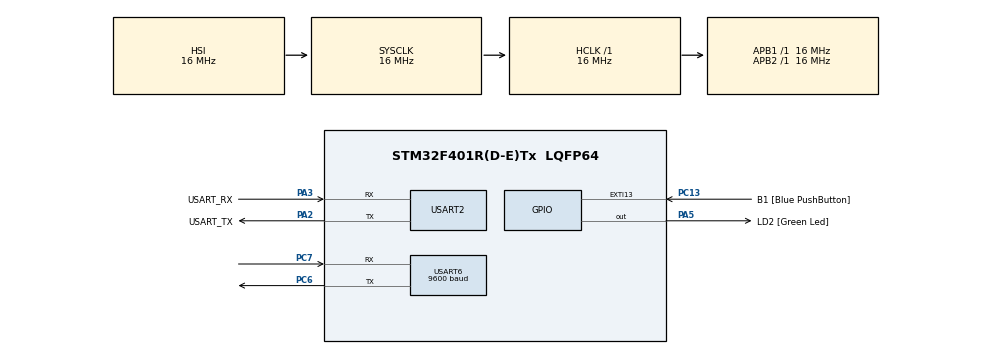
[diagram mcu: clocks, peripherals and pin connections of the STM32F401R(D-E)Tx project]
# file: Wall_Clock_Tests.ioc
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Mcu.Family=STM32F4
Mcu.Name=STM32F401R(D-E)Tx
Mcu.Package=LQFP64
NVIC.PriorityGroup=NVIC_PRIORITYGROUP_0
NVIC.TIM5_IRQn=true\:0\:0\:false\:false\:true\:true\:true\:true
PA13.GPIO_Label=TMS
PA13.Mode=Serial_Wire
PA13.Signal=SYS_JTMS-SWDIO
PA14.GPIO_Label=TCK
PA14.Mode=Serial_Wire
PA14.Signal=SYS_JTCK-SWCLK
PA2.GPIO_Label=USART_TX
PA2.GPIO_Mode=GPIO_MODE_AF_PP
PA2.GPIO_PuPd=GPIO_NOPULL
PA2.GPIO_Speed=GPIO_SPEED_FREQ_LOW
PA2.Mode=Asynchronous
PA2.Signal=USART2_TX
PA3.GPIO_Label=USART_RX
PA3.GPIO_Mode=GPIO_MODE_AF_PP
PA3.GPIO_PuPd=GPIO_NOPULL
PA3.GPIO_Speed=GPIO_SPEED_FREQ_LOW
PA3.Mode=Asynchronous
PA3.Signal=USART2_RX
PA5.GPIO_Label=LD2 [Green Led]
PA5.GPIO_Mode=GPIO_MODE_OUTPUT_PP
PA5.GPIO_PuPd=GPIO_NOPULL
PA5.GPIO_Speed=GPIO_SPEED_FREQ_LOW
PA5.Signal=GPIO_Output
PB3.GPIO_Label=SWO
PB3.Signal=SYS_JTDO-SWO
PC13-ANTI_TAMP.GPIO_Label=B1 [Blue PushButton]
PC13-ANTI_TAMP.GPIO_ModeDefaultEXTI=GPIO_MODE_IT_FALLING
PC13-ANTI_TAMP.GPIO_PuPd=GPIO_NOPULL
PC13-ANTI_TAMP.Signal=GPXTI13
PC14-OSC32_IN.Mode=LSE-External-Oscillator
PC14-OSC32_IN.Signal=RCC_OSC32_IN
PC15-OSC32_OUT.Mode=LSE-External-Oscillator
PC15-OSC32_OUT.Signal=RCC_OSC32_OUT
PC6.Mode=Asynchronous
PC6.Signal=USART6_TX
PC7.Mode=Asynchronous
PC7.Signal=USART6_RX
PH0\ -\ OSC_IN.Mode=HSE-External-Clock-Source
PH0\ -\ OSC_IN.Signal=RCC_OSC_IN
PH1\ -\ OSC_OUT.Mode=HSE-External-Clock-Source
PH1\ -\ OSC_OUT.Signal=RCC_OSC_OUT
ProjectManager.HeapSize=0x200
ProjectManager.StackSize=0x400
ProjectManager.TargetToolchain=STM32CubeIDE
RCC.48MHZClocksFreq_Value=48000000
RCC.AHBFreq_Value=16000000
RCC.APB1Freq_Value=16000000
RCC.APB1TimFreq_Value=16000000
RCC.APB2Freq_Value=16000000
RCC.APB2TimFreq_Value=16000000
RCC.CortexFreq_Value=16000000
RCC.HCLKFreq_Value=16000000
RCC.HSE_VALUE=8000000
RCC.HSI_VALUE=16000000
RCC.PLLN=336
RCC.PLLP=RCC_PLLP_DIV4
RCC.PLLQ=7
RCC.SYSCLKFreq_VALUE=16000000
RCC.VCOOutputFreq_Value=336000000
TIM5.AutoReloadPreload=TIM_AUTORELOAD_PRELOAD_ENABLE
TIM5.Period=1000-1
TIM5.Prescaler=16000-1
USART2.VirtualMode=VM_ASYNC
USART6.BaudRate=9600
USART6.Mode=MODE_TX
USART6.VirtualMode=VM_ASYNC
VP_TIM5_VS_ClockSourceINT.Mode=Internal
board=NUCLEO-F401RE

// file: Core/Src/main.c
/* USER CODE BEGIN Header */
/**
  ******************************************************************************
  * @file           : main.c
  * @brief          : Main program body
  ******************************************************************************
  * @attention
  *
  * Copyright (c) 2024 STMicroelectronics.
  * All rights reserved.
  *
  * This software is licensed under terms that can be found in the LICENSE file
  * in the root directory of this software component.
  * If no LICENSE file comes with this software, it is provided AS-IS.
  *
  ******************************************************************************
  */
/* USER CODE END Header */
#include "main.h"

/* USER CODE BEGIN Includes */
#include <string.h>
#include <stdio.h>
/* USER CODE END Includes */

/* USER CODE BEGIN PD */
unsigned int clock_sec = 0;
unsigned int clock_min = 0;
unsigned int clock_hour = 0;

/* USER CODE END PD */

TIM_HandleTypeDef htim5;

UART_HandleTypeDef huart2;
UART_HandleTypeDef huart6;

void SystemClock_Config(void);
static void MX_GPIO_Init(void);
static void MX_USART2_UART_Init(void);
static void MX_TIM5_Init(void);
static void MX_USART6_UART_Init(void);

/* USER CODE BEGIN 0 */
void update_time(void)
{
    if (clock_sec >= 60) {
        clock_sec = 0;
        clock_min++;
    }
    if (clock_min >= 60) {
        clock_min = 0;
        clock_hour++;
    }
    if (clock_hour >= 24) {
        clock_hour = 0;
    }
}

void send_time(UART_HandleTypeDef *huart)
{
	uint8_t txd_msg_buffer[64] = {0};
	sprintf((char*)txd_msg_buffer, "CLOCK TIME (REAL)\r\nHOURS MINS SECS\r\n %02u : %02u : %02u\r\n", clock_hour, clock_min, clock_sec);
    HAL_UART_Transmit(huart, (uint8_t*)txd_msg_buffer, strlen((char*)txd_msg_buffer), 1000);
}
/* USER CODE END 0 */

int main(void)
{

  /* MCU Configuration--------------------------------------------------------*/

  /* Reset of all peripherals, Initializes the Flash interface and the Systick. */
  HAL_Init();

  /* Configure the system clock */
  SystemClock_Config();

  /* Initialize all configured peripherals */
  MX_GPIO_Init();
  MX_USART2_UART_Init();
  MX_TIM5_Init();
  MX_USART6_UART_Init();
  /* USER CODE BEGIN 2 */
  // start up TIMER 5 for one second interrupts
  HAL_TIM_Base_Start_IT(&htim5);
  /* USER CODE END 2 */

  /* Infinite loop */
  /* USER CODE BEGIN WHILE */
  while (1)
  {
	if(clock_sec >= 60) {
		update_time();
	}

	send_time(&huart6);
	HAL_Delay(1000);
    /* USER CODE END WHILE */

  }
}

void SystemClock_Config(void)
{
  RCC_OscInitTypeDef RCC_OscInitStruct = {0};
  RCC_ClkInitTypeDef RCC_ClkInitStruct = {0};

  /** Configure the main internal regulator output voltage
  */
  __HAL_RCC_PWR_CLK_ENABLE();
  __HAL_PWR_VOLTAGESCALING_CONFIG(PWR_REGULATOR_VOLTAGE_SCALE2);

  /** Initializes the RCC Oscillators according to the specified parameters
  * in the RCC_OscInitTypeDef structure.
  */
  RCC_OscInitStruct.OscillatorType = RCC_OSCILLATORTYPE_HSI;
  RCC_OscInitStruct.HSIState = RCC_HSI_ON;
  RCC_OscInitStruct.HSICalibrationValue = RCC_HSICALIBRATION_DEFAULT;
  RCC_OscInitStruct.PLL.PLLState = RCC_PLL_NONE;
  if (HAL_RCC_OscConfig(&RCC_OscInitStruct) != HAL_OK)
  {
    Error_Handler();
  }

  /** Initializes the CPU, AHB and APB buses clocks
  */
  RCC_ClkInitStruct.ClockType = RCC_CLOCKTYPE_HCLK|RCC_CLOCKTYPE_SYSCLK
                              |RCC_CLOCKTYPE_PCLK1|RCC_CLOCKTYPE_PCLK2;
  RCC_ClkInitStruct.SYSCLKSource = RCC_SYSCLKSOURCE_HSI;
  RCC_ClkInitStruct.AHBCLKDivider = RCC_SYSCLK_DIV1;
  RCC_ClkInitStruct.APB1CLKDivider = RCC_HCLK_DIV1;
  RCC_ClkInitStruct.APB2CLKDivider = RCC_HCLK_DIV1;

  if (HAL_RCC_ClockConfig(&RCC_ClkInitStruct, FLASH_LATENCY_0) != HAL_OK)
  {
    Error_Handler();
  }
}

static void MX_TIM5_Init(void)
{

  TIM_ClockConfigTypeDef sClockSourceConfig = {0};
  TIM_MasterConfigTypeDef sMasterConfig = {0};

  htim5.Instance = TIM5;
  htim5.Init.Prescaler = 16000-1;
  htim5.Init.CounterMode = TIM_COUNTERMODE_UP;
  htim5.Init.Period = 1000-1;
  htim5.Init.ClockDivision = TIM_CLOCKDIVISION_DIV1;
  htim5.Init.AutoReloadPreload = TIM_AUTORELOAD_PRELOAD_ENABLE;
  if (HAL_TIM_Base_Init(&htim5) != HAL_OK)
  {
    Error_Handler();
  }
  sClockSourceConfig.ClockSource = TIM_CLOCKSOURCE_INTERNAL;
  if (HAL_TIM_ConfigClockSource(&htim5, &sClockSourceConfig) != HAL_OK)
  {
    Error_Handler();
  }
  sMasterConfig.MasterOutputTrigger = TIM_TRGO_RESET;
  sMasterConfig.MasterSlaveMode = TIM_MASTERSLAVEMODE_DISABLE;
  if (HAL_TIMEx_MasterConfigSynchronization(&htim5, &sMasterConfig) != HAL_OK)
  {
    Error_Handler();
  }

}

static void MX_USART2_UART_Init(void)
{

  huart2.Instance = USART2;
  huart2.Init.BaudRate = 115200;
  huart2.Init.WordLength = UART_WORDLENGTH_8B;
  huart2.Init.StopBits = UART_STOPBITS_1;
  huart2.Init.Parity = UART_PARITY_NONE;
  huart2.Init.Mode = UART_MODE_TX_RX;
  huart2.Init.HwFlowCtl = UART_HWCONTROL_NONE;
  huart2.Init.OverSampling = UART_OVERSAMPLING_16;
  if (HAL_UART_Init(&huart2) != HAL_OK)
  {
    Error_Handler();
  }

}

static void MX_USART6_UART_Init(void)
{

  huart6.Instance = USART6;
  huart6.Init.BaudRate = 9600;
  huart6.Init.WordLength = UART_WORDLENGTH_8B;
  huart6.Init.StopBits = UART_STOPBITS_1;
  huart6.Init.Parity = UART_PARITY_NONE;
  huart6.Init.Mode = UART_MODE_TX;
  huart6.Init.HwFlowCtl = UART_HWCONTROL_NONE;
  huart6.Init.OverSampling = UART_OVERSAMPLING_16;
  if (HAL_UART_Init(&huart6) != HAL_OK)
  {
    Error_Handler();
  }

}

static void MX_GPIO_Init(void)
{
  GPIO_InitTypeDef GPIO_InitStruct = {0};

  /* GPIO Ports Clock Enable */
  __HAL_RCC_GPIOC_CLK_ENABLE();
  __HAL_RCC_GPIOH_CLK_ENABLE();
  __HAL_RCC_GPIOA_CLK_ENABLE();
  __HAL_RCC_GPIOB_CLK_ENABLE();

  /*Configure GPIO pin Output Level */
  HAL_GPIO_WritePin(LD2_GPIO_Port, LD2_Pin, GPIO_PIN_RESET);

  /*Configure GPIO pin : B1_Pin */
  GPIO_InitStruct.Pin = B1_Pin;
  GPIO_InitStruct.Mode = GPIO_MODE_IT_FALLING;
  GPIO_InitStruct.Pull = GPIO_NOPULL;
  HAL_GPIO_Init(B1_GPIO_Port, &GPIO_InitStruct);

  /*Configure GPIO pin : LD2_Pin */
  GPIO_InitStruct.Pin = LD2_Pin;
  GPIO_InitStruct.Mode = GPIO_MODE_OUTPUT_PP;
  GPIO_InitStruct.Pull = GPIO_NOPULL;
  GPIO_InitStruct.Speed = GPIO_SPEED_FREQ_LOW;
  HAL_GPIO_Init(LD2_GPIO_Port, &GPIO_InitStruct);

}

/* USER CODE BEGIN 4 */
void HAL_TIM_PeriodElapsedCallback(TIM_HandleTypeDef *htim)
{
	if( htim->Instance == TIM5) {
		clock_sec += 1; //variable for seconds etc..
		HAL_GPIO_TogglePin(LD2_GPIO_Port, LD2_Pin);
	}
}
/* USER CODE END 4 */

void Error_Handler(void)
{
  __disable_irq();
  while (1)
  {
  }
}
